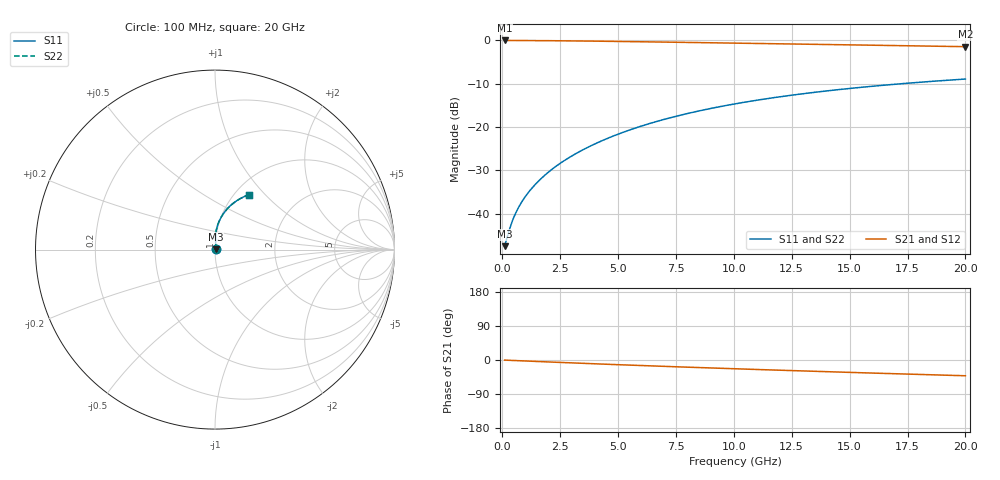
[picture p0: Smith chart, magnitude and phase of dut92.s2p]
! Touchstone file exported from HFSS 2024.1.0
!  File:  C:/UserFiles/LocalFiles/RDL_TSV_Batchsim/temp_RDL_bottom_92_1778694818.aedt
!  Generated:  01:56:23 AM May 14, 2026
!  Design:  RDL_bottom
!  Project:  temp_RDL_bottom_92_1778694818
!  Setup:  Setup1
!  Solution:  Sweep
! Variables:
!  dtsv = 10.80580581um
!  hbump = 3um
!  htsv = 64.12um
!  ldown = 573.62um
!  lrdl = 100um
!  p = 40
!  p1 = 57.56um
!  rhole = 1um
!  t = 450um
!  tdown = 2.03um
!  trdl = 3.915915916um
!  wdown = 29.08um
!  wrdl = 20um
# GHz S MA R 50.000000
! Terminal data exported
! Port[1] = RDL1_T1
! Port[2] = RDL1_T2
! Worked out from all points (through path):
!   200 points, 100 MHz to 20 GHz, reference 50 ohm
!   highest |S21| = -0.03 dB at 100 MHz (marker M1); lowest = -1.5 dB at 20 GHz (marker M2)
!   group delay of S21, straight-line fit = 5.7 ps
!   lowest |S11| = -47.5 dB at 100 MHz (marker M3), VSWR 1.01, Z = 50.4 + j0.172 ohm
!   |S11| at or under -10 dB: start of sweep to 17.26 GHz
!   |S22| runs from -47.5 to -8.9 dB; largest |S21 - S12| = 2.7e-14
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0.1  0.004223 23.9  0.9961 -0.3  0.9961 -0.3  0.004224 23.9
! Gamma 0 0 0 0
! Port Impedance 50 0 50 0
0.3  0.006464 50.2  0.9957 -0.8  0.9957 -0.8  0.006464 50.2
0.4  0.007784 56.5  0.9954 -1.1  0.9954 -1.1  0.007784 56.5
0.5  0.009117 60.9  0.9952 -1.3  0.9952 -1.3  0.009118 60.9
0.6  0.01045 64.3  0.9949 -1.6  0.9949 -1.6  0.01045 64.3
0.7  0.01178 67.0  0.9946 -1.9  0.9946 -1.9  0.01178 67.0
0.9  0.01447 71.2  0.9941 -2.4  0.9941 -2.4  0.01447 71.2
1.2  0.01859 75.7  0.9932 -3.1  0.9932 -3.1  0.01859 75.7
1.7  0.02578 80.5  0.9914 -4.4  0.9914 -4.4  0.02578 80.5
2.2  0.03337 83.5  0.9891 -5.7  0.9891 -5.7  0.03337 83.4
2.8  0.043 85.7  0.9859 -7.2  0.9859 -7.2  0.04299 85.6
3.5  0.05493 87.1  0.9815 -8.9  0.9815 -8.9  0.05492 87.0
4.2  0.06755 87.6  0.9766 -10.5  0.9766 -10.5  0.06754 87.6
5  0.08268 87.5  0.9705 -12.4  0.9705 -12.4  0.08266 87.5
5.9  0.1004 86.7  0.9633 -14.4  0.9633 -14.4  0.1004 86.7
6.8  0.1186 85.4  0.9558 -16.4  0.9558 -16.4  0.1185 85.4
8.4  0.1514 82.5  0.9423 -19.8  0.9423 -19.8  0.1513 82.5
10.1  0.186 79.0  0.9278 -23.3  0.9278 -23.3  0.1859 79.0
11.7  0.2176 75.5  0.9142 -26.4  0.9142 -26.4  0.2175 75.5
13.4  0.2497 71.8  0.8998 -29.7  0.8998 -29.7  0.2496 71.8
16.7  0.3072 64.9  0.8719 -35.8  0.8719 -35.8  0.307 64.9
20  0.3576 58.5  0.8445 -41.6  0.8445 -41.6  0.3574 58.5
